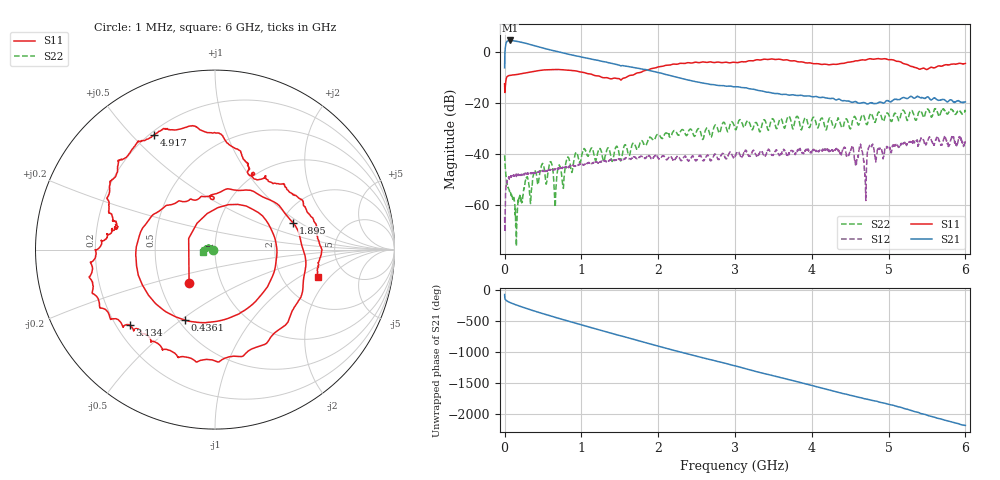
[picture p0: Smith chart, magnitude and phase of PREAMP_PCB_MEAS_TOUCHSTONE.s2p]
# GHZ S DB R 50.000000000000
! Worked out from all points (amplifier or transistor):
!   2000 points, 1 MHz to 6 GHz, reference 50 ohm
!   highest |S21| = 4.4 dB at 67.02 MHz (marker M1)
!   |S21| within 3 dB of that: 9.65 MHz to 503.4 MHz (493.7 MHz wide, 192 % of centre)
!   unconditionally stable (mu >= 1): start of sweep to end of sweep
!   at 1 GHz: K = 83.66, MAG = -1.3 dB, |S12| = -44.0 dB
!   at 3.002 GHz: K = 166.58, MAG = -11.6 dB, |S12| = -41.0 dB
!   at 6 GHz: K = 180.76, MAG = -17.7 dB, |S12| = -35.3 dB
!   S11 on the Smith chart (normalised r, x): 1 MHz: 0.70, -0.28; 436.1 MHz: 0.54, -0.52; 1.895 GHz: 2.30, +0.88; 3.134 GHz: 0.25, -0.36; 4.917 GHz: 0.22, +0.58; 6 GHz: 3.15, -1.47
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0.001  -12.56 -127.8  -6.26 -74.1  -64.64 -121.3  -40.54 -173.2
0.03701201  -9.62 25.2  4.20 177.8  -50.26 32.6  -51.96 -44.4
0.06702201  -9.24 -1.2  4.44 159.0  -48.95 7.6  -54.56 -75.0
0.142047  -8.91 -35.4  4.23 122.6  -48.22 -24.0  -61.51 -25.0
0.223074  -8.53 -61.4  3.70 87.5  -47.99 -49.2  -59.16 -175.2
0.3341111  -7.93 -90.4  2.85 41.5  -47.48 -78.8  -57.39 176.9
0.4361451  -7.39 -112.9  2.01 1.5  -47.10 -105.7  -51.81 129.7
0.6732241  -6.95 -156.5  0.19 -86.6  -45.77 -168.8  -51.52 99.3
0.8442811  -7.19 177.0  -1.03 -148.1  -44.97 140.1  -42.39 -179.3
1.003334  -7.93 153.6  -2.05 155.9  -43.98 92.2  -40.94 146.5
1.192397  -9.40 129.4  -3.22 89.7  -43.10 35.6  -42.16 146.8
1.414471  -10.37 105.8  -4.61 12.8  -42.44 -36.4  -41.93 142.9
1.657552  -9.18 74.2  -6.01 -69.3  -41.72 -105.3  -36.75 152.5
1.894631  -6.75 19.1  -7.39 -150.9  -41.17 168.0  -33.42 157.7
2.002667  -5.91 -5.8  -8.14 172.2  -41.80 134.6  -32.35 158.7
2.479826  -4.08 -87.8  -11.66 16.9  -42.35 -9.9  -32.90 136.8
3.002  -4.13 -130.9  -13.69 -145.3  -41.01 -152.5  -30.27 160.3
3.134045  -3.95 -138.3  -14.05 170.8  -38.58 158.8  -28.82 146.2
4.001334  -4.49 171.9  -17.57 -101.9  -39.02 -106.8  -26.77 151.4
4.916639  -2.81 118.0  -19.91 -19.3  -39.19 18.2  -26.50 -172.1
5.000667  -3.09 107.3  -19.25 -45.5  -37.72 -12.8  -24.53 -175.3
6  -4.56 -14.9  -19.62 -27.2  -35.33 -17.6  -23.35 -170.7
